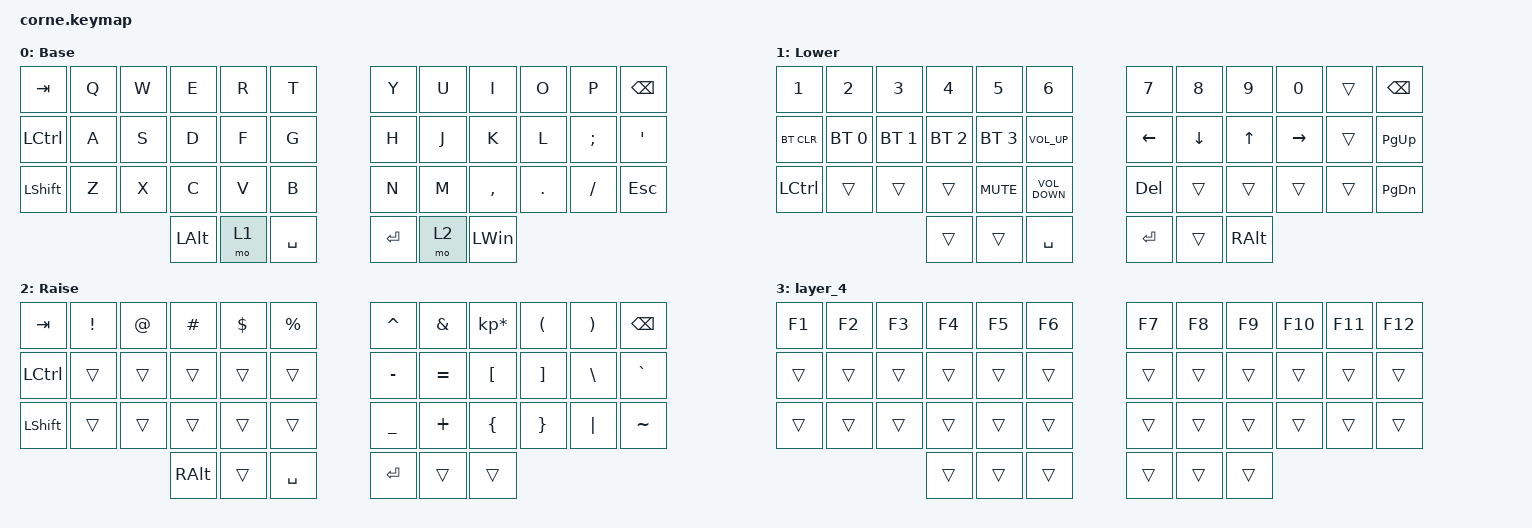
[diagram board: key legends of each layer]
/*
 * Copyright (c) 2020 The ZMK Contributors
 *
 * SPDX-License-Identifier: MIT
 */

#include <behaviors.dtsi>
#include <dt-bindings/zmk/bt.h>
#include <dt-bindings/zmk/keys.h>

/ {
    keymap {
        compatible = "zmk,keymap";

        default_layer {
            // -----------------------------------------------------------------------------------------
            // |  TAB |  Q  |  W  |  E  |  R  |  T  |   |  Y  |  U   |  I  |  O  |  P  | BKSP |
            // | CTRL |  A  |  S  |  D  |  F  |  G  |   |  H  |  J   |  K  |  L  |  ;  |  '   |
            // | SHFT |  Z  |  X  |  C  |  V  |  B  |   |  N  |  M   |  ,  |  .  |  /  | ESC  |
            //                    | GUI | LWR | SPC |   | ENT | RSE  | ALT |

            display-name = "Base";
            bindings = <
&kp TAB    &kp Q  &kp W  &kp E         &kp R  &kp T        &kp Y      &kp U  &kp I         &kp O    &kp P     &kp BSPC
&kp LCTRL  &kp A  &kp S  &kp D         &kp F  &kp G        &kp H      &kp J  &kp K         &kp L    &kp SEMI  &kp SQT
&kp LSHFT  &kp Z  &kp X  &kp C         &kp V  &kp B        &kp N      &kp M  &kp COMMA     &kp DOT  &kp FSLH  &kp ESC
                         &kp LEFT_ALT  &mo 1  &kp SPACE    &kp ENTER  &mo 2  &kp LEFT_WIN
            >;
        };

        lower_layer {
            // -----------------------------------------------------------------------------------------
            // |  TAB |  1  |  2  |  3  |  4  |  5  |   |  6  |  7  |  8  |  9  |  0  | BKSP |
            // | BTCLR| BT1 | BT2 | BT3 | BT4 | BT5 |   | LFT | DWN |  UP | RGT |     |      |
            // | SHFT |     |     |     |     |     |   |     |     |     |     |     |      |
            //                    | GUI |     | SPC |   | ENT |     | ALT |

            display-name = "Lower";
            bindings = <
&kp NUMBER_1      &kp NUMBER_2  &kp NUMBER_3  &kp NUMBER_4  &kp NUMBER_5  &kp NUMBER_6         &kp NUMBER_7  &kp NUMBER_8  &kp NUMBER_9  &kp NUMBER_0  &trans  &kp BSPC
&bt BT_CLR        &bt BT_SEL 0  &bt BT_SEL 1  &bt BT_SEL 2  &bt BT_SEL 3  &kp C_VOLUME_UP      &kp LEFT      &kp DOWN      &kp UP_ARROW  &kp RIGHT     &trans  &kp PAGE_UP
&kp LEFT_CONTROL  &trans        &trans        &trans        &kp K_MUTE    &kp C_VOLUME_DOWN    &kp DELETE    &trans        &trans        &trans        &trans  &kp PAGE_DOWN
                                              &trans        &trans        &kp SPACE            &kp RET       &trans        &kp RALT
            >;
        };

        raise_layer {
            // -----------------------------------------------------------------------------------------
            // |  TAB |  !  |  @  |  #  |  $  |  %  |   |  ^  |  &  |  *  |  (  |  )  | BKSP |
            // | CTRL |     |     |     |     |     |   |  -  |  =  |  [  |  ]  |  \  |  `   |
            // | SHFT |     |     |     |     |     |   |  _  |  +  |  {  |  }  | "|" |  ~   |
            //                    | GUI |     | SPC |   | ENT |     | ALT |

            display-name = "Raise";
            bindings = <
&kp TAB    &kp EXCL  &kp AT  &kp HASH       &kp DLLR  &kp PRCNT    &kp CARET  &kp AMPS   &kp KP_MULTIPLY  &kp LPAR  &kp RPAR  &kp BSPC
&kp LCTRL  &trans    &trans  &trans         &trans    &trans       &kp MINUS  &kp EQUAL  &kp LBKT         &kp RBKT  &kp BSLH  &kp GRAVE
&kp LSHFT  &trans    &trans  &trans         &trans    &trans       &kp UNDER  &kp PLUS   &kp LBRC         &kp RBRC  &kp PIPE  &kp TILDE
                             &kp RIGHT_ALT  &trans    &kp SPACE    &kp RET    &trans     &trans
            >;
        };

        layer_4 {
            bindings = <
&kp F1  &kp F2  &kp F3  &kp F4  &kp F5  &kp F6    &kp F7  &kp F8  &kp F9  &kp F10  &kp F11  &kp F12
&trans  &trans  &trans  &trans  &trans  &trans    &trans  &trans  &trans  &trans   &trans   &trans
&trans  &trans  &trans  &trans  &trans  &trans    &trans  &trans  &trans  &trans   &trans   &trans
                        &trans  &trans  &trans    &trans  &trans  &trans
            >;
        };
    };
};
